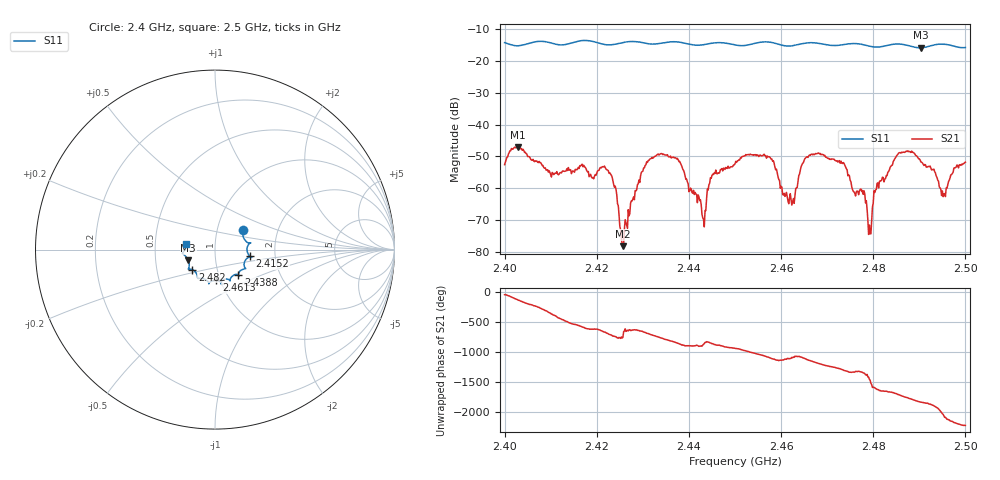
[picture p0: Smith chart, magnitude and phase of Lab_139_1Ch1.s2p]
# Hz S RI R 50
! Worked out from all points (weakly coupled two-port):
!   601 points, 2.4 GHz to 2.5 GHz, reference 50 ohm
!   highest |S21| = -47.00 dB at 2.4028 GHz (marker M1); lowest = -78.2 dB at 2.4257 GHz (marker M2)
!   lowest |S11| = -15.9 dB at 2.4903 GHz (marker M3), VSWR 1.38, Z = 36.8 - j4.44 ohm
!   |S11| at or under -10 dB: start of sweep to end of sweep
!   S12 and S22 are empty: the file has one direction only
!   S11 on the Smith chart (normalised r, x): 2.4 GHz: 1.33, +0.31; 2.4152 GHz: 1.48, -0.11; 2.4388 GHz: 1.24, -0.36; 2.4613 GHz: 0.96, -0.34; 2.482 GHz: 0.76, -0.17; 2.5 GHz: 0.72, +0.05
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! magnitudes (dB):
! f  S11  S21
! 2.4 GHz  -14.3  -52.6
! 2.4028 GHz  -15.3  -47.0
! 2.4152 GHz  -14.1  -55.0
! 2.4167 GHz  -13.6  -52.7
! 2.4228 GHz  -15.0  -55.2
! 2.4257 GHz  -14.2  -78.2
! 2.43 GHz  -14.3  -54.6
! 2.4333 GHz  -14.6  -49.2
! 2.4388 GHz  -14.4  -54.4
! 2.4432 GHz  -14.9  -69.8
! 2.4452 GHz  -14.4  -55.6
! 2.45 GHz  -15.0  -52.3
! 2.4575 GHz  -14.1  -50.1
! 2.4613 GHz  -15.3  -62.8
! 2.4667 GHz  -14.3  -49.3
! 2.4735 GHz  -14.9  -51.9
! 2.4792 GHz  -15.4  -71.5
! 2.482 GHz  -15.5  -56.5
! 2.4833 GHz  -15.0  -54.7
! 2.4903 GHz  -15.9  -51.7
! 2.4952 GHz  -14.7  -62.6
! 2.5 GHz  -15.8  -51.8
